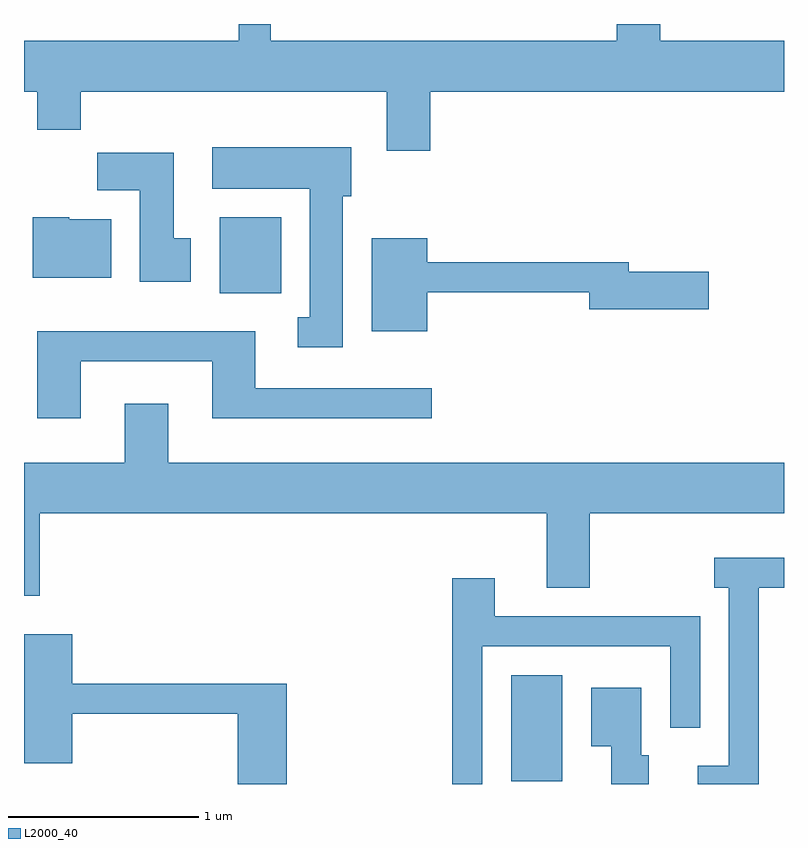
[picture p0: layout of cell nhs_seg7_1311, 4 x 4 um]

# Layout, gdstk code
import gdstk
lib = gdstk.Library(unit=1e-6, precision=1e-09)
def R(c, l, rs):  # rectangles x0, y0, x1, y1
    for r in rs: c.add(gdstk.rectangle(r[:2], r[2:], *l))
def P(c, l, *ps):  # polygons
    for p in ps: c.add(gdstk.Polygon(p, *l))
L2000_40 = (2000, 40)

nhs_seg7_1311 = lib.new_cell('nhs_seg7_1311')
R(nhs_seg7_1311, L2000_40, [(228.176,1686.266,228.444,1686.824), (226.641,1688.836,226.964,1689.234)])
P(nhs_seg7_1311, L2000_40, [(227.749,1689.896),(229.611,1689.896),(229.611,1690.164),(228.959,1690.164),(228.959,1690.252),(228.731,1690.252),(228.731,1690.164),(226.909,1690.164),(226.909,1690.252),(226.741,1690.252),(226.741,1690.164),(225.611,1690.164),(225.611,1689.896),(225.681,1689.896),(225.681,1689.696),(225.909,1689.696),(225.909,1689.896),(227.521,1689.896),(227.521,1689.586),(227.749,1689.586)],
  [(227.289,1689.346),(227.334,1689.346),(227.334,1689.604),(226.601,1689.604),(226.601,1689.386),(227.116,1689.386),(227.116,1688.709),(227.053,1688.709),(227.053,1688.551),(227.289,1688.551)],
  [(226.489,1689.124),(226.399,1689.124),(226.399,1689.574),(225.996,1689.574),(225.996,1689.376),(226.221,1689.376),(226.221,1688.896),(226.489,1688.896)],
  [(226.069,1689.224),(225.85,1689.224),(225.85,1689.234),(225.656,1689.234),(225.656,1688.916),(226.069,1688.916)],
  [(227.734,1688.841),(228.586,1688.841),(228.586,1688.751),(229.214,1688.751),(229.214,1688.949),(228.794,1688.949),(228.794,1688.999),(227.734,1688.999),(227.734,1689.124),(227.441,1689.124),(227.441,1688.636),(227.734,1688.636)],
  [(225.909,1688.476),(226.601,1688.476),(226.601,1688.176),(227.758,1688.176),(227.758,1688.334),(226.829,1688.334),(226.829,1688.634),(225.681,1688.634),(225.681,1688.176),(225.909,1688.176)],
  [(225.694,1687.676),(228.361,1687.676),(228.361,1687.286),(228.589,1687.286),(228.589,1687.676),(229.611,1687.676),(229.611,1687.944),(226.369,1687.944),(226.369,1688.254),(226.141,1688.254),(226.141,1687.944),(225.611,1687.944),(225.611,1687.243),(225.694,1687.243)],
  [(229.479,1687.286),(229.611,1687.286),(229.611,1687.444),(229.243,1687.444),(229.243,1687.286),(229.321,1687.286),(229.321,1686.349),(229.158,1686.349),(229.158,1686.252),(229.479,1686.252)],
  [(228.024,1686.976),(229.011,1686.976),(229.011,1686.548),(229.169,1686.548),(229.169,1687.134),(228.089,1687.134),(228.089,1687.334),(227.866,1687.334),(227.866,1686.252),(228.024,1686.252)],
  [(226.994,1686.779),(225.864,1686.779),(225.864,1687.039),(225.611,1687.039),(225.611,1686.361),(225.864,1686.361),(225.864,1686.621),(226.736,1686.621),(226.736,1686.252),(226.994,1686.252)],
  [(228.899,1686.404),(228.859,1686.404),(228.859,1686.759),(228.596,1686.759),(228.596,1686.451),(228.701,1686.451),(228.701,1686.252),(228.899,1686.252)])

lib.write_gds('nhs_seg7_1311.gds')
